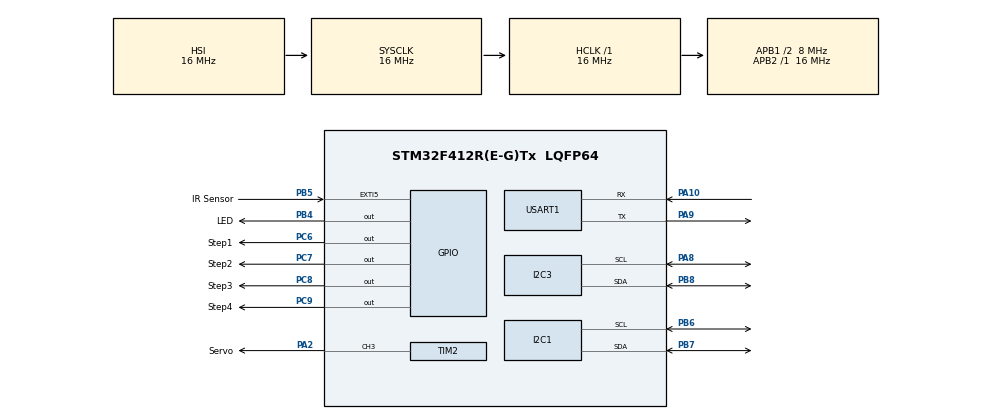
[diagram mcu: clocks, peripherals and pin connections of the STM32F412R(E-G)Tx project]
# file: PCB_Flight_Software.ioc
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Mcu.Family=STM32F4
Mcu.Name=STM32F412R(E-G)Tx
Mcu.Package=LQFP64
NVIC.EXTI9_5_IRQn=true\:0\:0\:false\:false\:true\:true\:true\:true
NVIC.PriorityGroup=NVIC_PRIORITYGROUP_4
PA10.Mode=Asynchronous
PA10.Signal=USART1_RX
PA13.Mode=Trace_Asynchronous_SW
PA13.Signal=SYS_JTMS-SWDIO
PA14.Mode=Trace_Asynchronous_SW
PA14.Signal=SYS_JTCK-SWCLK
PA2.GPIO_Label=Servo
PA2.Signal=S_TIM2_CH3
PA8.GPIO_Pu=GPIO_PULLUP
PA8.Mode=I2C
PA8.Signal=I2C3_SCL
PA9.Mode=Asynchronous
PA9.Signal=USART1_TX
PB3.Mode=Trace_Asynchronous_SW
PB3.Signal=SYS_JTDO-SWO
PB4.GPIO_Label=LED
PB4.Signal=GPIO_Output
PB5.GPIO_Label=IR Sensor
PB5.Signal=GPXTI5
PB6.GPIO_Pu=GPIO_NOPULL
PB6.GPIO_Speed=GPIO_SPEED_FREQ_VERY_HIGH
PB6.Mode=I2C
PB6.Signal=I2C1_SCL
PB7.GPIO_Pu=GPIO_NOPULL
PB7.GPIO_Speed=GPIO_SPEED_FREQ_VERY_HIGH
PB7.Mode=I2C
PB7.Signal=I2C1_SDA
PB8.GPIO_Pu=GPIO_PULLUP
PB8.Mode=I2C
PB8.Signal=I2C3_SDA
PC6.GPIO_Label=Step1
PC6.Signal=GPIO_Output
PC7.GPIO_Label=Step2
PC7.Signal=GPIO_Output
PC8.GPIO_Label=Step3
PC8.Signal=GPIO_Output
PC9.GPIO_Label=Step4
PC9.Signal=GPIO_Output
PH0\ -\ OSC_IN.Mode=HSE-External-Oscillator
PH0\ -\ OSC_IN.Signal=RCC_OSC_IN
PH1\ -\ OSC_OUT.Mode=HSE-External-Oscillator
PH1\ -\ OSC_OUT.Signal=RCC_OSC_OUT
ProjectManager.HeapSize=0x200
ProjectManager.StackSize=0x400
ProjectManager.TargetToolchain=STM32CubeIDE
RCC.AHBFreq_Value=16000000
RCC.APB1CLKDivider=RCC_HCLK_DIV2
RCC.APB1Freq_Value=8000000
RCC.APB1TimFreq_Value=16000000
RCC.APB2Freq_Value=16000000
RCC.APB2TimFreq_Value=16000000
RCC.CortexFreq_Value=16000000
RCC.HCLKFreq_Value=16000000
RCC.HSE_VALUE=8000000
RCC.PLLM=4
RCC.PLLN=96
RCC.SYSCLKFreq_VALUE=16000000
RCC.USBFreq_Value=192000000
RCC.VCOOutputFreq_Value=384000000
SH.S_TIM2_CH3.0=TIM2_CH3,PWM Generation3 CH3
TIM2.Channel-PWM\ Generation3\ CH3=TIM_CHANNEL_3
TIM2.Period=20000-1
TIM2.Prescaler=15
TIM2.Pulse-PWM\ Generation3\ CH3=0
USART1.VirtualMode=VM_ASYNC
VP_TIM2_VS_ClockSourceINT.Mode=Internal
board=custom

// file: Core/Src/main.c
/* USER CODE BEGIN Header */
/**
  ******************************************************************************
  * @file           : main.c
  * @brief          : Main program body
  ******************************************************************************
  * @attention
  *
  * Copyright (c) 2024 STMicroelectronics.
  * All rights reserved.
  *
  * This software is licensed under terms that can be found in the LICENSE file
  * in the root directory of this software component.
  * If no LICENSE file comes with this software, it is provided AS-IS.
  *
  ******************************************************************************
  */
/* USER CODE END Header */
#include "main.h"

/* USER CODE BEGIN Includes */

#include "stm32f4xx_hal.h"
#include <string.h>
#include <stdio.h>
#include <math.h>
#include <stdlib.h>
#include <stdint.h>

#include "MadgwickAHRS.h"

/* USER CODE END Includes */

/* USER CODE BEGIN PD */

typedef uint8_t bool;
#define false 0
#define true 1

// MMC5603 (Magnometer)
#define MMC5603_ADDRESS (0x30 << 1)  // MMC5603 I2C address
#define MMC5603_REG_CONTROL    0x1A          // Control Register 1
#define MMC5603_REG_CONTROL_2  0x1C          // Control Register 2
#define MMC5603_CONTINUOUS_MODE 0x80         // Enable continuous measurement mode
#define MMC5603_ODR_SETTING     0x08         // Set Output Data Rate (ODR) to a reasonable default

// MPL3115A2 (Temp/ Pressure)
#define MPL3115A2_ADDRESS  (0x60 << 1)  // 7-bit address, shifted left for HAL
#define MPL3115A2_WHO_AM_I 0x0C
#define MPL3115A2_CTRL_REG1 0x26
#define MPL3115A2_OUT_P_MSB 0x01

// MPU6050 (Accel/ Tilt)
#define MPU6050_ADDRESS (0x68 << 1)

// PA1010D (GPS)
#define PA1010D_ADDRESS (0x10 << 1)
#define PA_BFR_SIZE 255

//INA219 (Voltage)
#define INA219_ADDRESS (0x40 << 1)

// LM393 (Auto Gyro Speed)
#define PULSES_PER_ROTATION 30
#define AUTO_GYRO_TIME_INTERVAL_MS 1000

// Flash Memory
#define SECTOR 11
#define FLASH_ALTITUDE_OFFSET_ADDRESS 0x080E0000
#define FLASH_MAG_X_OFFSET_ADDRESS 0x080E0004
#define FLASH_MAG_Y_OFFSET_ADDRESS 0x080E0008
#define FLASH_MAG_Z_OFFSET_ADDRESS 0x080E000C
#define FLASH_TIME_DIF_ADDRESS 0x080E0010
#define FLASH_APOGEE_ALT_ADDRESS 0x080E0014
#define FLASH_PAYLOAD_RELEASED_ADDRESS 0x080E0018
#define FLASH_STATE_ADDRESS 0x080E001C

// Stepper Motor
#define IN1_PIN GPIO_PIN_6
#define IN1_PORT GPIOC
#define IN2_PIN GPIO_PIN_7
#define IN2_PORT GPIOC
#define IN3_PIN GPIO_PIN_8
#define IN3_PORT GPIOC
#define IN4_PIN GPIO_PIN_9
#define IN4_PORT GPIOC
#define STEPS_PER_REV 4096

// Servo
#define SERVO_MIN_PULSE_WIDTH 700   // 0° (0.5 ms)
#define SERVO_MAX_PULSE_WIDTH 2500  // 180° (2.5 ms)
#define SERVO_FREQUENCY 50
#define SERVO_ANGLE_CLOSED 128 // 128
#define SERVO_ANGLE_OPEN 85 // 90> >80

#define PI 3.141592

#define RX_BFR_SIZE 255
#define TX_BFR_SIZE 255
#define TEAM_ID "3141"

#define I2C_SCL_PIN GPIO_PIN_6
#define I2C_SDA_PIN GPIO_PIN_7
#define I2C_PORT GPIOB

#define DELTA_BUFFER_SIZE 3

#define MIN_STATE_MAINTAINED_ALT 10
#define DEFAULT_APOGEE_ALT 0

/* USER CODE END PD */

/* USER CODE BEGIN PM */

// XBee
uint8_t rx_packet[RX_BFR_SIZE];
uint8_t tx_data[TX_BFR_SIZE-18];
uint8_t tx_packet[TX_BFR_SIZE];
uint8_t tx_count;
volatile bool command_ready = false;
volatile int32_t last_command_count = -1;
char command_buffer[RX_BFR_SIZE-1];

/* USER CODE END PM */

I2C_HandleTypeDef hi2c1;
I2C_HandleTypeDef hi2c3;

TIM_HandleTypeDef htim2;

UART_HandleTypeDef huart1;

void SystemClock_Config(void);
static void MX_GPIO_Init(void);
static void MX_I2C3_Init(void);
static void MX_TIM2_Init(void);
static void MX_USART1_UART_Init(void);
static void MX_I2C1_Init(void);

/* USER CODE BEGIN 0 */

/* Variables TEAM_ID, MISSION_TIME, PACKET_COUNT, MODE, STATE, ALTITUDE,
TEMPERATURE, PRESSURE, VOLTAGE, GYRO_R, GYRO_P, GYRO_Y, ACCEL_R,
ACCEL_P, ACCEL_Y, MAG_R, MAG_P, MAG_Y, AUTO_GYRO_ROTATION_RATE,
GPS_TIME, GPS_ALTITUDE, GPS_LATITUDE, GPS_LONGITUDE, GPS_SATS,
CMD_ECHO [,,OPTIONAL_DATA] */

// Variables
int8_t mission_time_hr;
int8_t mission_time_min;
int8_t mission_time_sec;
int16_t packet_count = 0;
char mode = 'F';
char state[14] = "LAUNCH_PAD";
float altitude;
float temperature;
float pressure;
float voltage; // Not implemented yet
float gyro_x;
float gyro_y;
float gyro_z;
float accel_x;
float accel_y;
float accel_z;
float mag_x, mag_y, mag_z;
float auto_gyro_rotation_rate; // Not implemented yet
uint8_t gps_time_hr;
uint8_t gps_time_min;
uint8_t gps_time_sec;
float gps_altitude;
float gps_latitude;
float gps_longitude;
uint8_t gps_sats;
char cmd_echo[64] = "N/A";

// PA1010D DATA
uint8_t PA1010D_RATE[] = "$PMTK220,1000*1F\r\n";
//uint8_t PA1010D_SAT[] = "$PMTK313,1*2E\r\n";
uint8_t PA1010D_SAT[] = "$PMTK353,1,0,0,0,0*2A\r\n";
uint8_t PA1010D_INIT[] = "$PMTK225,0*2B\r\n";
uint8_t PA1010D_CFG[] = "$PMTK353,1,0,0,0,0*2A\r\n";
uint8_t PA1010D_MODE[] = "$PMTK314,0,0,0,1,0,0,0,0,0,0,0,0,0,0,0,0,0,0,0*29\r\n";
uint8_t PA1010D_SEPERATOR = '$';
HAL_StatusTypeDef pa_ret;
uint8_t pa_buf[PA_BFR_SIZE];
HAL_StatusTypeDef pa_init_ret[5];
uint8_t prev_time = 0;
uint8_t i2cret[128];
char parse_buf[255];
char gps_lat_dir;
char gps_long_dir;
uint32_t time_dif;

// INA219 DATA (VOLTAGE/CURRENT)
HAL_StatusTypeDef ina_ret;
uint8_t ina_buf[8];
int16_t raw_shunt_voltage;
int16_t raw_bus_voltage;
int16_t raw_power;
int16_t raw_current;
float shunt_voltage;
float bus_voltage;
float power;
float current;

// LM393 (Auto Gyro Rotation Rate)
volatile uint32_t pulse_count = 0;

// Stepper Variables
double direction = 0;
double stepper_direction = 0;
int stepIndex = 1;
bool north_cam_on = false;
MadgwickAHRS ahrs;
uint32_t lastStepperUpdate = 0;
extern uint32_t SystemCoreClock;

// Commands
char sim_command[14];
char simp_command[15];
char set_time_command[13];
char cal_alt_command[14];
char set_camera_north_command[14];
char activate_north_cam_command[21];
char deactivate_north_cam_command[22];
char bcn_on_command[16];
char bcn_off_command[17];
char tel_on_command[15];
char tel_off_command[16];
char cal_comp_on_command[15];
char cal_comp_off_command[16];
char release_payload_command[25];
char reset_release_payload_command[26];
char reset_state_command[14];

// State Variables
float prev_alt = 0;
float delta_buffer[DELTA_BUFFER_SIZE] = {0};
int delta_index = 0;

// Other Variables
//float mag_x_offset = 0.173406959;
//float mag_y_offset = 0.0170800537;
//float mag_z_offset = -0.435796857;
float mag_x_offset = 0;
float mag_y_offset = 0;
float mag_z_offset = 0;
float mag_x_min = 0;
float mag_y_min = 0;
float mag_z_min = 0;
float mag_x_max = 0;
float mag_y_max = -1;
float mag_z_max = -1;
float altitude_offset = 0;
int telemetry_status = 1;
bool sim_enabled = false;
char rx_data[255];
HAL_StatusTypeDef uart_received;
bool calibrating_compass = 0;
float apogee_altitude = 0;
bool payload_released = false;
int alt_increasing_count = 0;
int alt_decreasing_count = 0;
int alt_non_increasing_count = 0;
int plot_packet_num = 0;

volatile uint32_t msCounter = 0;

uint8_t steps[8][4] = {
    {1, 0, 0, 0},
    {1, 1, 0, 0},
    {0, 1, 0, 0},
    {0, 1, 1, 0},
    {0, 0, 1, 0},
    {0, 0, 1, 1},
    {0, 0, 0, 1},
    {1, 0, 0, 1}
};

HAL_StatusTypeDef result;
HAL_StatusTypeDef result2;
HAL_I2C_StateTypeDef state_result;
HAL_I2C_StateTypeDef state_result2;

//Set up Interrupt handler to invoke data transmit from xbee to the board.
void USART1_IRQHandler(void) {
	HAL_UART_IRQHandler(&huart1);
}

// Auto Gyro Rotation Sensor ------------------------------------------------------------

// Speed calculation function
void calculate_auto_gyro_speed(void)
{
    auto_gyro_rotation_rate = (pulse_count * 360) / PULSES_PER_ROTATION;
    pulse_count = 0;
}

// Servo Motor Functions -------------------------------------------------------------------------------
void Set_Servo_Angle(uint8_t angle) {
    // Limit the angle between 0° and 180°
    if (angle > 180) {
        angle = 180;
    }

    // Map the angle to the pulse width
    uint32_t pulse_width = SERVO_MIN_PULSE_WIDTH +
                           ((SERVO_MAX_PULSE_WIDTH - SERVO_MIN_PULSE_WIDTH) * angle) / 180;

    // Calculate the duty cycle for the given pulse width
    uint32_t tim_period = htim2.Init.Period + 1;   // Get the timer period
    uint32_t pulse = (tim_period * pulse_width) / (1000000 / SERVO_FREQUENCY);

    // Set the pulse width to TIM2 Channel 3
    __HAL_TIM_SET_COMPARE(&htim2, TIM_CHANNEL_3, pulse);
}

void Servo_Open(){
//	Set_Servo_Angle(SERVO_ANGLE_OPEN);
	unsigned char num_partitions = 20;
	for (int i = 1; i <= num_partitions; ++i){
		Set_Servo_Angle(SERVO_ANGLE_CLOSED + i * (SERVO_ANGLE_OPEN - SERVO_ANGLE_CLOSED) / num_partitions);
		HAL_Delay(25);
	}
}

void Servo_Close(){
//	Set_Servo_Angle(SERVO_ANGLE_CLOSED);
	unsigned char num_partitions = 20;
	for (int i = 1; i <= num_partitions; ++i){
		Set_Servo_Angle(SERVO_ANGLE_OPEN + i * (SERVO_ANGLE_CLOSED - SERVO_ANGLE_OPEN) / num_partitions);
		HAL_Delay(25);
	}
}

void Servo_Init() {
    HAL_TIM_PWM_Start(&htim2, TIM_CHANNEL_3);  // Start PWM signal on TIM2 Channel 3
}

// Flash Data Functions ---------------------------------------------------------------------------------
uint32_t time_seconds(uint8_t hr, uint8_t min, uint8_t sec){
	return 3600 * hr + 60 * min + sec;
}

int32_t get_time_dif(){
	return time_seconds(mission_time_hr, mission_time_min, mission_time_sec) - time_seconds(gps_time_hr, gps_time_min, gps_time_sec);
}

void get_mission_time(){
	int32_t mission_time = (time_seconds(gps_time_hr, gps_time_min, gps_time_sec) + time_dif) % 86400;
	if (mission_time < 0) mission_time += 86400;
	mission_time_sec = mission_time % 60;
	mission_time -= mission_time_sec;
	mission_time_min = (mission_time % 3600) / 60;
	mission_time -= mission_time_min;
	mission_time_hr = mission_time / 3600;
}

void store_flash_data(){
	// Store altitude offset, magnetic offsets, mission time
	HAL_FLASH_Unlock();

	FLASH_Erase_Sector(SECTOR, FLASH_VOLTAGE_RANGE_2);
	HAL_Delay(100);

	uint32_t altitude_offset_bits, mag_x_offset_bits, mag_y_offset_bits, mag_z_offset_bits, apogee_altitude_bits;
	uint32_t payload_released_bits = payload_released ? 1 : 0;

	// Copy the float data into the 32-bit unsigned integer variables
	if (!isnan(altitude_offset)){
		memcpy(&altitude_offset_bits, &altitude_offset, sizeof(altitude_offset));
	}
	if (!isnan(mag_x_offset)){
		memcpy(&mag_x_offset_bits, &mag_x_offset, sizeof(mag_x_offset));
	}
	if (!isnan(mag_y_offset)){
		memcpy(&mag_y_offset_bits, &mag_y_offset, sizeof(mag_y_offset));
	}
	if (!isnan(mag_z_offset)){
		memcpy(&mag_z_offset_bits, &mag_z_offset, sizeof(mag_z_offset));
	}
	memcpy(&apogee_altitude_bits, &apogee_altitude, sizeof(apogee_altitude));

	HAL_FLASH_Program(FLASH_TYPEPROGRAM_WORD, FLASH_ALTITUDE_OFFSET_ADDRESS, altitude_offset_bits);
	HAL_FLASH_Program(FLASH_TYPEPROGRAM_WORD, FLASH_MAG_X_OFFSET_ADDRESS, mag_x_offset_bits);
	HAL_FLASH_Program(FLASH_TYPEPROGRAM_WORD, FLASH_MAG_Y_OFFSET_ADDRESS, mag_y_offset_bits);
	HAL_FLASH_Program(FLASH_TYPEPROGRAM_WORD, FLASH_MAG_Z_OFFSET_ADDRESS, mag_z_offset_bits);
	HAL_FLASH_Program(FLASH_TYPEPROGRAM_WORD, FLASH_TIME_DIF_ADDRESS, get_time_dif());
	HAL_FLASH_Program(FLASH_TYPEPROGRAM_WORD, FLASH_APOGEE_ALT_ADDRESS, apogee_altitude_bits);
	HAL_FLASH_Program(FLASH_TYPEPROGRAM_WORD, FLASH_PAYLOAD_RELEASED_ADDRESS, payload_released_bits);

	for (uint16_t i = 0; i < 14; i++) {
		HAL_FLASH_Program(FLASH_TYPEPROGRAM_BYTE, FLASH_STATE_ADDRESS + i, state[i]);
	}
	HAL_Delay(100);

	HAL_FLASH_Lock();
}

void load_flash_data(){
	HAL_FLASH_Unlock();

//	altitude_offset = * (__IO uint32_t*) FLASH_ALTITUDE_OFFSET_ADDRESS;
//	mag_x_offset = * (__IO uint32_t*) FLASH_MAG_X_OFFSET_ADDRESS;
//	mag_y_offset = * (__IO uint32_t*) FLASH_MAG_Y_OFFSET_ADDRESS;
//	mag_z_offset = * (__IO uint32_t*) FLASH_MAG_Z_OFFSET_ADDRESS;

//	altitude_offset = * (float*) FLASH_ALTITUDE_OFFSET_ADDRESS;
//	mag_x_offset = *(float*)FLASH_MAG_X_OFFSET_ADDRESS;
//	mag_y_offset = * (float*) FLASH_MAG_Y_OFFSET_ADDRESS;
//	mag_z_offset = * (float*) FLASH_MAG_Z_OFFSET_ADDRESS;
	memcpy(&altitude_offset, (float*)FLASH_ALTITUDE_OFFSET_ADDRESS, sizeof(float));
	memcpy(&mag_x_offset, (float*)FLASH_MAG_X_OFFSET_ADDRESS, sizeof(float));
	memcpy(&mag_y_offset, (float*)FLASH_MAG_Y_OFFSET_ADDRESS, sizeof(float));
	memcpy(&mag_z_offset, (float*)FLASH_MAG_Z_OFFSET_ADDRESS, sizeof(float));
	memcpy(&time_dif, (int32_t*)FLASH_TIME_DIF_ADDRESS, sizeof(int32_t));
	memcpy(&apogee_altitude, (float*)FLASH_APOGEE_ALT_ADDRESS, sizeof(float));

	uint32_t readWord;
	memcpy(&readWord, (uint32_t*)FLASH_PAYLOAD_RELEASED_ADDRESS, sizeof(uint32_t));
	payload_released = (readWord != 0);

	memcpy(state, (uint8_t*)FLASH_STATE_ADDRESS, 14);

	HAL_FLASH_Lock();
}

// Sensor Read Functions -----------------------------------------------------------------------------
uint8_t set_gps(char* buf, uint8_t order){
	char tmp[2];

	if(strlen(buf)==0)
		return 0;

	switch(order) {
	case 0: //STATUS
		if (strlen(buf)<5 || buf[0] != 'G' || buf[2] != 'G' || buf[3] != 'G' || buf[4] != 'A'){
			return 1;
		}
		break;
	case 1: //TIME
		memcpy(tmp, &buf[0], 2);
		gps_time_hr = atoi(tmp);
		memcpy(tmp, &buf[2], 2);
		gps_time_min = atoi(tmp);
		memcpy(tmp, &buf[4], 2);
		gps_time_sec = atoi(tmp);

		break;
	case 2: //LATITUDE
		gps_latitude = atof(buf) / 100;
		break;
	case 3: //LATITUDE_DIR
		gps_lat_dir = *buf;
		if (gps_lat_dir == 'S') {
			gps_latitude*= -1;
		}
		break;
	case 4: //LONGITUDE
		gps_longitude = atof(buf) / 100;
		break;
	case 5: //LONGITUDE DIR
		gps_long_dir = *buf;
		if (gps_long_dir == 'W') {
			gps_longitude*= -1;
		}
		break;
	case 7: //SATS
		gps_sats = atoi(buf);
		break;
	case 9: //ALTITUDE
		gps_altitude = atof(buf);
		break;
	default:
		break;
	}

	return 0;
}

bool parse_nmea(char *buf){
	uint8_t i;
	uint8_t last = 0;
	uint8_t order = 0;

	for(i=0; i<255;i++){
		if ( buf[i] == 44 ){
			if (last != i){
				memset(parse_buf, '\000', sizeof parse_buf);
				memcpy(parse_buf, &buf[last], i-last);
				if(set_gps(parse_buf, order)){
					return false;
				}
			}
			last = i + 1;
			order = order + 1;
		} else if (buf[i] == 42) {
			break;
		}
	}

	return true;
}

float calculate_altitude(float pressure) {
	return 44330.77 * (1 - powf(pressure / 101.326, 0.1902632)) + altitude_offset;
}

void read_MMC5603(void) {
    uint8_t mmc5603_buf[9];
    uint8_t first_reg = 0x00;
	int32_t raw_x, raw_y, raw_z;

	// Perform the I2C write (send the register address) then read 9 bytes of data
	HAL_I2C_Master_Transmit(&hi2c1, MMC5603_ADDRESS, &first_reg, 1, HAL_MAX_DELAY);
	if (result != HAL_OK) {
		// Handle transmission error
		return;
	}

//	HAL_Delay(10);

	// Read 9 bytes of data from the sensor
	if (HAL_I2C_Master_Receive(&hi2c1, MMC5603_ADDRESS, mmc5603_buf, 9, HAL_MAX_DELAY) != HAL_OK) {
		// Handle reception error
		return;
	}

	// Extract X, Y, Z values from the buffer
	raw_x = ((uint32_t)mmc5603_buf[0] << 12) | ((uint32_t)mmc5603_buf[1] << 4) | ((uint32_t)mmc5603_buf[6] >> 4);
	raw_y = ((uint32_t)mmc5603_buf[2] << 12) | ((uint32_t)mmc5603_buf[3] << 4) | ((uint32_t)mmc5603_buf[7] >> 4);
	raw_z = ((uint32_t)mmc5603_buf[4] << 12) | ((uint32_t)mmc5603_buf[5] << 4) | ((uint32_t)mmc5603_buf[8] >> 4);

	// Fix center offsets

	raw_x -= (1 << 19);
	raw_y -= (1 << 19);
	raw_z -= (1 << 19);

	// Scale to Gauss
	mag_x = (float)raw_x * 0.0000625 - mag_x_offset;
	mag_y = (float)raw_y * 0.0000625 - mag_y_offset;
	mag_z = (float)raw_z * 0.0000625 - mag_z_offset;

	direction = atan2(mag_y, mag_x) * 180 / PI;
	if (direction < 0){
		direction += 360;
	}
}

void read_MPL3115A2(void)
{
    uint8_t mpl_data[5]; // Buffer to hold pressure and temperature data

    // Read 5 bytes from OUT_P_MSB (3 for pressure, 2 for temperature)
    HAL_StatusTypeDef mpl_ret = HAL_I2C_Mem_Read(&hi2c1, MPL3115A2_ADDRESS, MPL3115A2_OUT_P_MSB, I2C_MEMADD_SIZE_8BIT, mpl_data, 9, HAL_MAX_DELAY);

    if (mpl_ret == HAL_OK){
    	// Combine pressure bytes into a 20-bit integer
		uint32_t p_raw = ((uint32_t)mpl_data[0] << 16) | ((uint32_t)mpl_data[1] << 8) | (mpl_data[2]);
		p_raw >>= 4; // Pressure is stored in the upper 20 bits

		// Convert raw pressure to Pascals
		pressure = p_raw / 4.0 / 1000; // Pressure in KiloPascals

		// Combine temperature bytes into a 12-bit integer
		int16_t t_raw = ((int16_t)mpl_data[3] << 8) | (mpl_data[4]);
		t_raw >>= 4; // Temperature is stored in the upper 12 bits

		// Convert raw temperature to degrees Celsius
		temperature = t_raw / 16.0; // Temperature in Celsius

		altitude = calculate_altitude(pressure);
    }
}

void calibrate_altitude(void)
{
    uint8_t mpl_data[5]; // Buffer to hold pressure and temperature data

    // Read 5 bytes from OUT_P_MSB (3 for pressure, 2 for temperature)
    HAL_I2C_Mem_Read(&hi2c1, MPL3115A2_ADDRESS, MPL3115A2_OUT_P_MSB, I2C_MEMADD_SIZE_8BIT, mpl_data, 9, HAL_MAX_DELAY);

    // Combine pressure bytes into a 20-bit integer
    uint32_t p_raw = ((uint32_t)mpl_data[0] << 16) | ((uint32_t)mpl_data[1] << 8) | (mpl_data[2]);
    p_raw >>= 4; // Pressure is stored in the upper 20 bits

    // Convert raw pressure to Pascals
    pressure = p_raw / 4.0 / 1000; // Pressure in KiloPascals

    // Combine temperature bytes into a 12-bit integer
    int16_t t_raw = ((int16_t)mpl_data[3] << 8) | (mpl_data[4]);
    t_raw >>= 4; // Temperature is stored in the upper 12 bits

    // Convert raw temperature to degrees Celsius
    temperature = t_raw / 16.0; // Temperature in Celsius

    altitude_offset = 0;
    altitude = calculate_altitude(pressure);
    altitude_offset = -altitude;
}

void read_MPU6050(void) {
	uint8_t imu_addr = 0x3B;
	uint8_t gyro_addr = 0x43;
	HAL_StatusTypeDef mpu_ret;
	uint8_t mpu_buf[6];
	int16_t raw_accel_x;
	int16_t raw_accel_y;
	int16_t raw_accel_z;
	int16_t raw_gyro_x = 0;
	int16_t raw_gyro_y = 0;
	int16_t raw_gyro_z = 0;

	mpu_ret = HAL_I2C_IsDeviceReady(&hi2c1, MPU6050_ADDRESS, 3, 5);
	if (mpu_ret == HAL_OK){
		mpu_ret = HAL_I2C_Master_Transmit(&hi2c1, MPU6050_ADDRESS, &imu_addr, 1, 100);
		if ( mpu_ret == HAL_OK ) {
			mpu_ret = HAL_I2C_Master_Receive(&hi2c1, MPU6050_ADDRESS, mpu_buf, 6, 100);
			if ( mpu_ret == HAL_OK ) {
				// shift first byte left, add second byte
				raw_accel_x = (int16_t)(mpu_buf[0] << 8 | mpu_buf[1]);
				raw_accel_y = (int16_t)(mpu_buf[2] << 8 | mpu_buf[3]);
				raw_accel_z = (int16_t)(mpu_buf[4] << 8 | mpu_buf[5]);

				// get float values in g
				accel_x = raw_accel_x/16384.0;
				accel_y = raw_accel_y/16384.0;
				accel_z = raw_accel_z/16384.0;
			}
		}

		mpu_ret = HAL_I2C_Master_Transmit(&hi2c1, MPU6050_ADDRESS, &gyro_addr, 1, 100);
		if ( mpu_ret == HAL_OK ) {
			mpu_ret = HAL_I2C_Master_Receive(&hi2c1, MPU6050_ADDRESS, mpu_buf, 6, 100);
			if ( mpu_ret == HAL_OK ) {
				// shift first byte left, add second byte
				raw_gyro_x = (int16_t)(mpu_buf[0] << 8 | mpu_buf [1]);
				raw_gyro_y = (int16_t)(mpu_buf[2] << 8 | mpu_buf [3]);
				raw_gyro_z = (int16_t)(mpu_buf[4] << 8 | mpu_buf [5]);

				// convert to deg/sec
				gyro_x = raw_gyro_x/131.0;
				gyro_y = raw_gyro_y/131.0;
				gyro_z = raw_gyro_z/131.0;
			}
		}
    }
}

bool read_PA1010D()
{
	if (HAL_I2C_IsDeviceReady(&hi2c1, PA1010D_ADDRESS, 3, 5) != HAL_OK) return false;

	uint8_t pa_buf_index = 0;
	uint8_t pa_bytebuf = 0;
    bool ret = false;

	/* PA1010D (GPS) */
	if (HAL_I2C_IsDeviceReady(&hi2c1, PA1010D_ADDRESS, 3, HAL_MAX_DELAY) == HAL_OK){
		for(pa_buf_index=0; pa_buf_index<255; pa_buf_index++){
			HAL_I2C_Master_Receive(&hi2c1, PA1010D_ADDRESS, &pa_bytebuf, 1, HAL_MAX_DELAY);
			if (pa_bytebuf == '$'){
				ret = true;
				break; // Idea: take away break statement and see what the whole sentence looks like
			}
			pa_buf[pa_buf_index] = pa_bytebuf;
		}
		parse_nmea(pa_buf);
	}
	return ret;
}

void flush_PA1010D(){
	while(read_PA1010D());
}

void read_INA219(void) {
	/* INA219 (CURRENT/VOLTAGE) */

	// OLD CODE --------------------------------------------------------------------------
//	uint8_t bus_add = 0x02; // need to use separate registers for everything
//
//	ina_ret = HAL_I2C_IsDeviceReady(&hi2c1, INA219_ADDRESS, 3, 5);
//	if (ina_ret == HAL_OK) {
//		ina_ret = HAL_I2C_Master_Transmit(&hi2c1, INA219_ADDRESS, &bus_add, 1, 100);
//		if (ina_ret == HAL_OK) {
//			HAL_I2C_Master_Receive(&hi2c1, INA219_ADDRESS, ina_buf, 2, 10);
//
//			//raw_shunt_voltage = abs((int16_t)(ina_buf[0] << 8 | ina_buf[1]));
//			raw_bus_voltage = (int16_t)(ina_buf[0] << 8 | ina_buf [1]);
//			//raw_power = (int16_t)(ina_buf[4] << 8 | ina_buf [5]);
//			//raw_current = (int16_t)(ina_buf[6] << 8 | ina_buf [7]);
//
//			//shunt_voltage = raw_shunt_voltage*10.0;
//			bus_voltage = raw_bus_voltage/1600.0;
//			//power = raw_power*20/32768.0;
//			//current = raw_current/32768.0;
//
//			voltage = bus_voltage;
//		}
//
//	}

	// NEW CODE ----------------------------------------------------------------------------
	uint8_t reg = 0x02;  // Bus voltage register
	uint8_t ina_buf[2];

	ina_ret = HAL_I2C_IsDeviceReady(&hi2c1, INA219_ADDRESS, 3, 5);
	if (ina_ret == HAL_OK) {
		// Write the register address
		ina_ret = HAL_I2C_Master_Transmit(&hi2c1, INA219_ADDRESS, &reg, 1, 100);
		if (ina_ret == HAL_OK) {
			// Read 2 bytes from that register
			ina_ret = HAL_I2C_Master_Receive(&hi2c1, INA219_ADDRESS, ina_buf, 2, 10);
			if (ina_ret == HAL_OK) {
				uint16_t raw_bus_voltage = (ina_buf[0] << 8) | ina_buf[1];
				raw_bus_voltage >>= 3;  // per datasheet, remove unused bits

				float bus_voltage = raw_bus_voltage * 0.004;  // each bit = 4mV
				voltage = bus_voltage;

				// For debug:
				// printf("Bus voltage: %.3f V\n", voltage);
			}
		}
	}
}

void calibrate_mmc(){
	read_MMC5603();
	if (mag_x < mag_x_min){
		mag_x_min = mag_x;
	}
	if (mag_x > mag_x_max){
		mag_x_max = mag_x;
	}
	if (mag_y < mag_y_min){
		mag_y_min = mag_y;
	}
	if (mag_y > mag_y_max){
		mag_y_max = mag_y;
	}
	if (mag_z < mag_z_min){
		mag_z_min = mag_z;
	}
	if (mag_z > mag_z_max){
		mag_z_max = mag_z;
	}
}

// Sensor Init Functions -------------------------------------------------------------------
void init_MMC5603(void) {
	uint8_t odr_value = 100;  // Example: Set ODR to 1000 Hz by writing 255
	uint8_t control_reg0 = 0b10000000;  // Set Cmm_freq_en and Take_meas_M
	uint8_t control_reg1 = 0b10000000;  // BW0=0, BW1=0 (6.6 ms)
	uint8_t control_reg2 = 0b00010000;  // Set Cmm_en to enable continuous mode

	// Configure Control Register 1
	result = HAL_I2C_Mem_Write(&hi2c1, MMC5603_ADDRESS, 0x1C, I2C_MEMADD_SIZE_8BIT, &control_reg1, 1, HAL_MAX_DELAY);
	HAL_Delay(20);
	uint8_t set_bit = 0b00001000;
	HAL_I2C_Mem_Write(&hi2c1, MMC5603_ADDRESS, 0x1B, I2C_MEMADD_SIZE_8BIT, &set_bit, 1, HAL_MAX_DELAY);
	HAL_Delay(1);
	uint8_t reset_bit = 0b00010000;
	HAL_I2C_Mem_Write(&hi2c1, MMC5603_ADDRESS, 0x1B, I2C_MEMADD_SIZE_8BIT, &reset_bit, 1, HAL_MAX_DELAY);
	HAL_Delay(1);

	// Set Output Data Rate
	HAL_I2C_Mem_Write(&hi2c1, MMC5603_ADDRESS, 0x1A, I2C_MEMADD_SIZE_8BIT, &odr_value, 1, HAL_MAX_DELAY);
	HAL_Delay(10);

	// Configure Control Register 0
	HAL_I2C_Mem_Write(&hi2c1, MMC5603_ADDRESS, 0x1B, I2C_MEMADD_SIZE_8BIT, &control_reg0, 1, HAL_MAX_DELAY);
	HAL_Delay(10);

	// Configure Control Register 2
	HAL_I2C_Mem_Write(&hi2c1, MMC5603_ADDRESS, 0x1D, I2C_MEMADD_SIZE_8BIT, &control_reg2, 1, HAL_MAX_DELAY);

	// Optionally: Add a delay to allow the sensor to stabilize
	HAL_Delay(10);
}

void init_MPL3115A2(void)
{
	// Check the WHO_AM_I register to verify sensor is connected
	uint8_t who_am_i = 0;
	HAL_I2C_Mem_Read(&hi2c1, MPL3115A2_ADDRESS, MPL3115A2_WHO_AM_I, I2C_MEMADD_SIZE_8BIT, &who_am_i, 1, HAL_MAX_DELAY);
	if (who_am_i == 0xC4)
	{
		// WHO_AM_I is correct, now configure the sensor
//		uint8_t data = 0xB9; // Altimeter mode
		uint8_t data = 0x39; // Barometer mode
		HAL_I2C_Mem_Write(&hi2c1, MPL3115A2_ADDRESS, MPL3115A2_CTRL_REG1, I2C_MEMADD_SIZE_8BIT, &data, 1, HAL_MAX_DELAY);
	}
	else
	{
		// Handle error
	}
}

void init_MPU6050(void)
{
	uint8_t mpu_config = 0x00;
	uint8_t mpu_set_sample_rate = 0x07;
	uint8_t mpu_set_fs_range = 0x00;
	uint8_t clockSource = 0x01;

	// wake up sensor
	HAL_I2C_Mem_Write(&hi2c1, MPU6050_ADDRESS, 0x6B, 1,&mpu_config, 1, 1000);

	// set sample rate to 1kHz, config ranges
	HAL_I2C_Mem_Write(&hi2c1, MPU6050_ADDRESS, 0x19, 1, &mpu_set_sample_rate, 1, 1000);
	HAL_I2C_Mem_Write(&hi2c1, MPU6050_ADDRESS, 0x1B, 1, &mpu_set_fs_range, 1, 1000);
	HAL_I2C_Mem_Write(&hi2c1, MPU6050_ADDRESS, 0x1c, 1, &mpu_set_fs_range, 1, 1000);
	HAL_I2C_Mem_Write(&hi2c1, MPU6050_ADDRESS, 0x6B, I2C_MEMADD_SIZE_8BIT, &clockSource, 1, 1000);
}

void init_PA1010D(void)
{
	if (HAL_I2C_IsDeviceReady(&hi2c1, PA1010D_ADDRESS, 3, 5) != HAL_OK) return;
	uint8_t pa1010d_bytebuf;

	HAL_I2C_Master_Transmit(&hi2c1, PA1010D_ADDRESS, PA1010D_MODE, strlen( (char *)PA1010D_MODE), 1000);
	HAL_I2C_Master_Transmit(&hi2c1, PA1010D_ADDRESS, PA1010D_RATE, strlen( (char *)PA1010D_RATE), 1000);
//	pa_init_ret[1] = HAL_I2C_Master_Transmit(&hi2c1, PA1010D_ADDRESS, PA1010D_INIT, strlen( (char *)PA1010D_INIT), 1000);
//	pa_init_ret[2] = HAL_I2C_Master_Transmit(&hi2c1, PA1010D_ADDRESS, PA1010D_SAT, strlen( (char *)PA1010D_SAT), 1000);
//	pa_init_ret[3] = HAL_I2C_Master_Transmit(&hi2c1, PA1010D_ADDRESS, PA1010D_CFG, strlen( (char *)PA1010D_CFG), 1000);

//	HAL_Delay(10000);
	//Wait for stabilization
	for(int j=0; j<10; j++){
		for(int i=0; i<255; i++){
			HAL_I2C_Master_Receive(&hi2c1, PA1010D_ADDRESS, &pa1010d_bytebuf, 1, HAL_MAX_DELAY);
			if (pa1010d_bytebuf == '$'){
				break;
			}
			pa_buf[i] = pa1010d_bytebuf;
		}
		if (j>5){
			parse_nmea(pa_buf);
		}
		HAL_Delay(500);
	}
}

void init_INA219(void)
{
	// OLD CODE --------------------------------------------------------------------------
//	uint8_t ina_config[2] = {0b00000001, 0b00011101};
//	result2 = HAL_I2C_Mem_Write(&hi2c1, (uint16_t) INA219_ADDRESS, 0x05, 1, ina_config, 2, 1000);

	// NEW CODE --------------------------------------------------------------------------
	// This is writing to the CALIBRATION register (0x05), not the CONFIG register (0x00)!
	uint8_t ina_calib[2] = {0x20, 0x00};  // Example calibration value
	result2 = HAL_I2C_Mem_Write(&hi2c1, INA219_ADDRESS, 0x05, 1, ina_calib, 2, 1000);

	// Now write to the CONFIG register (0x00)
	uint8_t ina_config[2] = {0x01, 0x9F};  // Example: 32V, 2A, 12-bit ADCs
	HAL_I2C_Mem_Write(&hi2c1, INA219_ADDRESS, 0x00, 1, ina_config, 2, 1000);
}

void read_sensors(void)
{
	read_MPU6050(); // Accel/ tilt
	read_MPL3115A2(); // Temperature/ Pressure
	if (!north_cam_on) read_MMC5603(); // Magnetic Field
//	read_PA1010D();
	for (int i = 0; i < 2; ++i){
		read_PA1010D(); // GPS
	}
	calculate_auto_gyro_speed();
	read_INA219(); // Voltage
}

void reset_MPU6050(void) {
    uint8_t reset_command = 0x80;  // Set the reset bit in PWR_MGMT_1
    HAL_I2C_Mem_Write(&hi2c1, MPU6050_ADDRESS, 0x6B, 1, &reset_command, 1, HAL_MAX_DELAY);
    HAL_Delay(100); // Wait for reset to complete
}

void init_sensors(void)
{
	if (HAL_I2C_GetState(&hi2c1) != HAL_I2C_STATE_READY) {
		reset_MPU6050();
	}

	init_MPU6050(); // Must be first
	init_MPL3115A2();
	init_MMC5603();
	init_PA1010D();
	init_INA219();

	read_PA1010D();
	get_mission_time();

	flush_PA1010D();
}

void init_commands(void)
{
	snprintf(sim_command, sizeof(sim_command), "CMD,%s,SIM,", TEAM_ID);
	snprintf(simp_command, sizeof(simp_command), "CMD,%s,SIMP,", TEAM_ID);
	snprintf(set_time_command, sizeof(set_time_command), "CMD,%s,ST,", TEAM_ID);
	snprintf(cal_alt_command, sizeof(cal_alt_command), "CMD,%s,CAL", TEAM_ID);
	snprintf(bcn_on_command, sizeof(bcn_on_command), "CMD,%s,BCN,ON", TEAM_ID);
	snprintf(bcn_off_command, sizeof(bcn_off_command), "CMD,%s,BCN,OFF", TEAM_ID);
	snprintf(tel_on_command, sizeof(tel_on_command), "CMD,%s,CX,ON", TEAM_ID);\
	snprintf(tel_off_command, sizeof(tel_off_command), "CMD,%s,CX,OFF", TEAM_ID);
	snprintf(cal_comp_on_command, sizeof(cal_comp_on_command), "CMD,%s,CC,ON", TEAM_ID);
	snprintf(cal_comp_off_command, sizeof(cal_comp_off_command), "CMD,%s,CC,OFF", TEAM_ID);
	snprintf(set_camera_north_command, sizeof(set_camera_north_command), "CMD,%s,SCN", TEAM_ID);
	snprintf(activate_north_cam_command, sizeof(activate_north_cam_command), "CMD,%s,MEC,CAM,ON", TEAM_ID);
	snprintf(deactivate_north_cam_command, sizeof(deactivate_north_cam_command), "CMD,%s,MEC,CAM,OFF", TEAM_ID);
	snprintf(release_payload_command, sizeof(release_payload_command), "CMD,%s,MEC,PAYLOAD,ON", TEAM_ID);
	snprintf(reset_release_payload_command, sizeof(reset_release_payload_command), "CMD,%s,MEC,PAYLOAD,OFF", TEAM_ID);
	snprintf(reset_state_command, sizeof(reset_state_command), "CMD,%s,RST", TEAM_ID);
}

// Stepper Motor Functions ---------------------------------------------------------------------------
void Stepper_SetStep(uint8_t i) {
    HAL_GPIO_WritePin(IN1_PORT, IN1_PIN, steps[i][0] ? GPIO_PIN_SET : GPIO_PIN_RESET);
    HAL_GPIO_WritePin(IN2_PORT, IN2_PIN, steps[i][1] ? GPIO_PIN_SET : GPIO_PIN_RESET);
    HAL_GPIO_WritePin(IN3_PORT, IN3_PIN, steps[i][2] ? GPIO_PIN_SET : GPIO_PIN_RESET);
    HAL_GPIO_WritePin(IN4_PORT, IN4_PIN, steps[i][3] ? GPIO_PIN_SET : GPIO_PIN_RESET);
}

// Rotate the motor a specified number of steps
void Stepper_Rotate(int stepsCount, int delayMs) {
    int direction = (stepsCount > 0) ? 1 : -1;
    stepsCount = abs(stepsCount);

    for (int i = 0; i < stepsCount; i++) {
        Stepper_SetStep(stepIndex);
        HAL_Delay(delayMs);

        stepIndex += direction;
        if (stepIndex >= 8) stepIndex = 0;
        else if (stepIndex < 0) stepIndex = 7;
    }
}

void DWT_Init(void) {
    CoreDebug->DEMCR |= CoreDebug_DEMCR_TRCENA_Msk; // Enable TRC
    DWT->CYCCNT = 0;                                // Reset counter
    DWT->CTRL |= DWT_CTRL_CYCCNTENA_Msk;            // Enable counter
}

// Rotate the motor to correct its direction to all way to the North
void Stepper_Correction(){
//	read_MMC5603();
//	float dir_change = stepper_direction - direction;
//	if (dir_change > 180) dir_change -= 360;
//	else if (dir_change < -180) dir_change += 360;
//
//	int num_steps = round(dir_change * STEPS_PER_REV / 360);
//
//	stepper_direction -= (double)num_steps * 360 / STEPS_PER_REV;
//	if (stepper_direction > 360) stepper_direction -= 360;
//	else if (stepper_direction < 0) stepper_direction += 360;
//
//	Stepper_Rotate(num_steps, 0);

	// Read sensor data (gyroscope, accelerometer, magnetometer)
	read_MPU6050();
	read_MMC5603();

	float gx = gyro_x;
	float gy = gyro_y;
	float gz = gyro_z;
	float ax = accel_x;
	float ay = accel_y;
	float az = accel_z;
	float mx = mag_x;
	float my = mag_y;
	float mz = mag_z;

	uint32_t now = DWT->CYCCNT;
	float dt = (now - lastStepperUpdate) / (float)SystemCoreClock;
	lastStepperUpdate = now;

	if (dt > 0) {
	    ahrs.invSampleFreq = dt;
	}
	Madgwick_update(&ahrs, gx, -gy, -gz, ax, -ay, -az, mx, my, mz);

	// Get the current yaw from the Madgwick filter (assumed to represent the direction of the system)
	float current_yaw = Madgwick_getYaw(&ahrs);

	float correction_boost = 1.05f;
	float dir_change = (stepper_direction - current_yaw) * correction_boost;
	if (dir_change > 180) dir_change -= 360;
	else if (dir_change < -180) dir_change += 360;

	int num_steps = round(dir_change * STEPS_PER_REV / 360);

	stepper_direction -= (double)num_steps * 360 / STEPS_PER_REV;
	if (stepper_direction > 360) stepper_direction -= 360;
	else if (stepper_direction < 0) stepper_direction += 360;

	Stepper_Rotate(-num_steps, 0);
}

void set_stepper_north(){
	stepper_direction = direction;
}

void turn_stepper_north(){
	read_MMC5603();
	float dir_change = stepper_direction - direction;
	if (dir_change > 180) dir_change -= 360;
	else if (dir_change < -180) dir_change += 360;

	int num_steps = round(dir_change * STEPS_PER_REV / 360);

	stepper_direction -= (double)num_steps * 360 / STEPS_PER_REV;
	if (stepper_direction > 360) stepper_direction -= 360;
	else if (stepper_direction < 0) stepper_direction += 360;

	Stepper_Rotate(num_steps, 0);

	// Prepare for madgwick filter to take over stepper
	stepper_direction = Madgwick_getYaw(&ahrs);
	lastStepperUpdate = DWT->CYCCNT;
}

// Xbee and Command Functions ----------------------------------------------------------------
uint8_t calculate_checksum(const char *data) {
	uint8_t checksum = 0;
	while (*data) {
		checksum += *data++;
	}
	return checksum % 256;
}

void send_packet(){

	char packet[512];  // Buffer for packet
	char data[480];    // Buffer for data without checksum

	packet_count += 1;

	snprintf(data, sizeof(data),
		"%s,%02d:%02d:%02d,%d,%c,%s,%.1f,%.1f,%.1f,%.1f,%.1f,%.1f,%.1f,%.1f,%.1f,%.1f,%.1f,%.1f,%.1f,%.1f,%02d:%02d:%02d,%.1f,%.1f,%.1f,%u,%s,%d,%.1f,%s",
		 TEAM_ID, mission_time_hr, mission_time_min, mission_time_sec, packet_count,
		 mode, state, altitude, temperature, pressure, voltage,
		 -gyro_z, gyro_x, -gyro_y, -accel_z, accel_x, -accel_y, mag_z, mag_x, mag_y,
		 auto_gyro_rotation_rate, gps_time_hr, gps_time_min, gps_time_sec,
		 gps_altitude, gps_latitude, gps_longitude, gps_sats, cmd_echo, (int)direction,
		 apogee_altitude, payload_released ? "TRUE" : "FALSE");

	uint8_t checksum = calculate_checksum(data);
	snprintf(packet, sizeof(packet), "~%s,%u\n", data, checksum);

	// Send the packet using HAL_UART_Transmit
//	HAL_UART_Transmit(&huart1, (uint8_t*)packet, strlen(packet), HAL_MAX_DELAY);

	int packet_len = strlen(packet);
	int chunk_size = 73;

	for (int i = 0; i < packet_len; i += chunk_size) {
	    int remaining = packet_len - i;
	    int send_len = remaining < chunk_size ? remaining : chunk_size;

	    HAL_UART_Transmit(&huart1, (uint8_t*)&packet[i], send_len, HAL_MAX_DELAY);

	    if (i + chunk_size < packet_len) {
	        HAL_Delay(40);  // Wait 40ms only if more data remains
	    }
	}
}

void send_mmc_plot_packet(){

	char packet[512];  // Buffer for packet
	char data[480];    // Buffer for data without checksum

	snprintf(data, sizeof(data),
		"%d,%.3f,%.3f,%.3f,%.3f,%.3f,%.3f,%.3f,%.3f,%d",
		 ++plot_packet_num, mag_x, mag_y, (mag_x_min + mag_x_max) / 2, (mag_y_min + mag_y_max) / 2, mag_x_min, mag_x_max, mag_y_min, mag_y_max, (int)direction);

	uint8_t checksum = calculate_checksum(data);
	snprintf(packet, sizeof(packet), "~%s,%u\n", data, checksum);

	// Send the packet using HAL_UART_Transmit
	HAL_UART_Transmit(&huart1, (uint8_t*)packet, strlen(packet), HAL_MAX_DELAY);
}

void reset_delta_buffer(){
	for(int i = 0; i < DELTA_BUFFER_SIZE; ++i){
		delta_buffer[i] = 0;
	}
}

void handle_state(){
	// States: ‘LAUNCH_PAD’,‘ASCENT’, ‘APOGEE’, ‘DESCENT’, ‘PROBE_RELEASE’, ‘LANDED’
	float noise_threshold = 3.0;
	float landing_threshold = 0.2;

	float delta = altitude - prev_alt;

	// Update delta buffer
	delta_buffer[delta_index] = delta;
	delta_index = (delta_index + 1) % DELTA_BUFFER_SIZE;  // Circular buffer index

	// Compute rolling average of deltas
	float avg_delta = 0;
	for (int i = 0; i < DELTA_BUFFER_SIZE; i++) {
		avg_delta += delta_buffer[i];
	}
	avg_delta /= DELTA_BUFFER_SIZE;  // Take the average

	if (strncmp(state, "LAUNCH_PAD", strlen("LAUNCH_PAD")) == 0){
		if (altitude > apogee_altitude && altitude < 40000){
			apogee_altitude = altitude;
		}
		if (avg_delta > noise_threshold){
			memset(state, 0, sizeof(state));
			strncpy(state, "ASCENDING", strlen("ASCENDING"));
			store_flash_data();
		}
	}
	else if (strncmp(state, "ASCENDING", strlen("ASCENDING")) == 0){
		if (altitude > apogee_altitude && altitude < 40000){
			apogee_altitude = altitude;
		}
		if (avg_delta < -noise_threshold){
			memset(state, 0, sizeof(state));
			strncpy(state, "APOGEE", strlen("APOGEE"));
			store_flash_data();
		}
	}
	else if (strncmp(state, "APOGEE", strlen("APOGEE")) == 0){
		memset(state, 0, sizeof(state));
		strncpy(state, "DESCENDING", strlen("DESCENDING"));
		if (altitude > apogee_altitude && altitude < 40000){
			apogee_altitude = altitude;
		}
		store_flash_data();
	}
	else if (strncmp(state, "DESCENDING", strlen("DESCENDING")) == 0){
		if (altitude <= apogee_altitude * 0.75 && !payload_released){
			memset(state, 0, sizeof(state));
			strncpy(state, "PROBE_RELEASE", strlen("PROBE_RELEASE"));
			// Deploy Auto Gyro
			Servo_Open();
			payload_released = true;
			north_cam_on = true;

			turn_stepper_north();
		}
		if (abs(avg_delta) < landing_threshold){
			memset(state, 0, sizeof(state));
			strncpy(state, "LANDED", strlen("LANDED"));
			store_flash_data();
		}
	}
	else if (strncmp(state, "PROBE_RELEASE", strlen("PROBE_RELEASE")) == 0){
		memset(state, 0, sizeof(state));
		strncpy(state, "DESCENDING", strlen("DESCENDING"));
	}
	else if (strncmp(state, "LANDED", strlen("LANDED")) == 0){
		// stop telemetry transmission
//		telemetry_status = 0;
		// Turn off north cam
		north_cam_on = false;
	}

	prev_alt = altitude;
}

void read_transmit_telemetry (){
	if (mode == 'F') {
		read_sensors();
	}

	send_packet();
}

void set_cmd_echo(const char *cmd)
{
	memset(cmd_echo, '\0', sizeof(cmd_echo));
	strncpy(cmd_echo, cmd, strlen(cmd));
}

void handle_command(const char *cmd) {

	// SIM command
	if (strncmp(cmd, sim_command, strlen(sim_command)) == 0) {

		// disable
		if (cmd[13] == 'D'){
			set_cmd_echo("SIMDISABLE");
			mode = 'F';
			sim_enabled = false;
		}

		// enable
		if (cmd[13] == 'E'){
			set_cmd_echo("SIMENABLE");
			sim_enabled = true;
		}

		// activate
		if (cmd[13] == 'A' && sim_enabled == true){
			mode = 'S';
			set_cmd_echo("SIMACTIVATE");
		}

	}

	// SIMP command
	else if (strncmp(cmd, simp_command, strlen(simp_command)) == 0) {
		if (mode == 'S') {
			char pressure_str[7];

			strncpy(pressure_str, &cmd[14], 6);
			pressure_str[6] = '\0';

			// Read sensors, then update the pressure and altitude
			read_sensors();
			pressure = atof(pressure_str)/1000;
			altitude = calculate_altitude(pressure);

			char temp[12] = "SIMP";
			strcat(temp, pressure_str);
			set_cmd_echo(temp);
			memset(pressure_str, '\0', sizeof(pressure_str));
		}
		sim_enabled = false;
	}

	// set time command
	else if (strncmp(cmd, set_time_command, strlen(set_time_command)) == 0) {
		if (cmd[12]=='G') {
			mission_time_hr = (int16_t)gps_time_hr;
			mission_time_min = (int16_t)gps_time_min;
			mission_time_sec = (int16_t)gps_time_sec;
			set_cmd_echo("STGPS");
		}
		else {
			char temp[3];
			memset(temp, 0, sizeof(temp));
			temp[0] = cmd[12];
			temp[1] = cmd[13];
			mission_time_hr = atoi(temp);
			memset(temp, 0, sizeof(temp));
			temp[0] = cmd[15];
			temp[1] = cmd[16];
			mission_time_min = atoi(temp);
			memset(temp, 0, sizeof(temp));
			temp[0] = cmd[18];
			temp[1] = cmd[19];
			mission_time_sec = atoi(temp);
			memset(cmd_echo, '\0', sizeof(cmd_echo));
			snprintf(cmd_echo, 11, "ST%02d:%02d:%02d", mission_time_hr, mission_time_min, mission_time_sec);
		}
		store_flash_data();

	}

	// Calibrate Altitude
	else if (strncmp(cmd, cal_alt_command, strlen(cal_alt_command)) == 0) {
//		altitude_offset -= altitude;
		calibrate_altitude();
		store_flash_data();
		set_cmd_echo("CAL");
		if (strncmp(state, "PRE-LAUNCH", strlen("PRE-LAUNCH")) == 0) {
			memset(state, 0, sizeof(state));
			strncpy(state, "LAUNCH-READY", strlen("LAUNCH-READY"));
		}

		prev_alt = 0;
		reset_delta_buffer();
		read_MPL3115A2();

		sim_enabled = false;
	}

	// Telemetry On
	else if (strncmp(cmd, tel_on_command, strlen(tel_on_command)) == 0) {
		telemetry_status = 1;
		set_cmd_echo("CXON");
		sim_enabled = false;
		flush_PA1010D();
	}

	// Telemetry Off
	else if (strncmp(cmd, tel_off_command, strlen(tel_off_command)) == 0) {
		telemetry_status = 0;
		set_cmd_echo("CXOFF");
		sim_enabled = false;
	}

	// Calibrate compass On
	else if (strncmp(cmd, cal_comp_on_command, strlen(cal_comp_on_command)) == 0) {
		mag_x_offset = 0;
		mag_y_offset = 0;
		mag_z_offset = 0;
		read_MMC5603();

		mag_x_min = mag_x;
		mag_x_max = mag_x;
		mag_y_min = mag_y;
		mag_y_max = mag_y;
		mag_z_min = mag_z;
		mag_z_max = mag_z;
		calibrating_compass = 1;
		set_cmd_echo("CCON");
		sim_enabled = false;
	}

	// Calibrate compass Off
	else if (strncmp(cmd, cal_comp_off_command, strlen(cal_comp_off_command)) == 0) {
		calibrating_compass = 0;

		mag_x_offset = (mag_x_min + mag_x_max) / 2;
		mag_y_offset = (mag_y_min + mag_y_max) / 2;
		mag_z_offset = (mag_z_min + mag_z_max) / 2;

		store_flash_data();
		set_cmd_echo("CCOFF");
		sim_enabled = false;
	}

	// Set Camera North
	else if (strncmp(cmd, set_camera_north_command, strlen(set_camera_north_command)) == 0) {
		// Update variable
		set_cmd_echo("SCN");
		set_stepper_north();
		sim_enabled = false;
	}

	// Activate North Camera
	else if (strncmp(cmd, activate_north_cam_command, strlen(activate_north_cam_command)) == 0) {
		// Update variable
		set_cmd_echo("MECCAMON");
		north_cam_on = true;
		turn_stepper_north();
		sim_enabled = false;
	}

	// Activate North Camera
	else if (strncmp(cmd, deactivate_north_cam_command, strlen(deactivate_north_cam_command)) == 0) {
		// Update variable
		set_cmd_echo("MECCAMOFF");
		north_cam_on = false;
		sim_enabled = false;
	}

	// Release Payload
	else if (strncmp(cmd, release_payload_command, strlen(release_payload_command)) == 0) {
		// Update variable
		set_cmd_echo("MECPAYLOADON");
		Servo_Open();
		payload_released = true;
		sim_enabled = false;
	}

	// Reset Payload Release
	else if (strncmp(cmd, reset_release_payload_command, strlen(reset_release_payload_command)) == 0) {
		// Update variable
		set_cmd_echo("MECPAYLOADOFF");
		Servo_Close();
		payload_released = false;
		sim_enabled = false;
	}

	// Reset State
	else if (strncmp(cmd, reset_state_command, strlen(reset_state_command)) == 0) {
		// Update variable
		set_cmd_echo("RST");
		reset_state();
		sim_enabled = false;
	}
}

void reset_state(){
	Set_Servo_Angle(SERVO_ANGLE_CLOSED);
	payload_released = false;
	north_cam_on = false;
	prev_alt = altitude;
	reset_delta_buffer();
	telemetry_status = 1;
	memset(state, 0, sizeof(state));
	strncpy(state, "LAUNCH_PAD", strlen("LAUNCH_PAD"));
	apogee_altitude = DEFAULT_APOGEE_ALT;
	store_flash_data();
	msCounter = 0;
}

void initial_state_reset(){
	read_MPL3115A2();
	prev_alt = altitude;
	reset_delta_buffer();

	// Set North Direction Offset
	read_MMC5603();
	set_stepper_north();

	read_MPU6050();

	if (altitude > MIN_STATE_MAINTAINED_ALT && ((accel_x * accel_x) + (accel_y * accel_y) + (accel_z * accel_z) > 1)){
		// Assume there was a power reset during flight. Use configurations from flash
		if (payload_released)
			Servo_Open();
		else
			Servo_Close();

		// Lost Power during flight. Reseting to previous state
		if (strncmp(state, "ASCENDING", strlen("ASCENDING")) == 0){
			Servo_Close();
			north_cam_on = false;
		}
		else if (strncmp(state, "DESCENDING", strlen("DESCENDING")) == 0){
			Servo_Open();
		}

		prev_alt = altitude;
		reset_delta_buffer();
		telemetry_status = 1;
		store_flash_data();
	}
	else{
		reset_state();
	}
}

uint32_t uart_error = 0;
void HAL_UART_ErrorCallback(UART_HandleTypeDef *huart) {
    // Check if it's your UART instance
    if (huart->Instance == USART1) {
        // Log or handle the error
        uart_error++;

        // Try to recover
        HAL_UARTEx_ReceiveToIdle_IT(huart, rx_data, RX_BFR_SIZE);
    }
}

void HAL_UARTEx_RxEventCallback(UART_HandleTypeDef *huart, uint16_t Size){
	// Call function for next packet

	memcpy(rx_packet, rx_data, Size);
	rx_packet[Size] = '\0';
	memset(rx_data, 0, sizeof(rx_data));

	if (rx_packet[0] == '~') {
		// Calculate where the comma and checksum should be
		char *last_comma = &rx_packet[Size - 3];  // Comma is 3 characters from the end (2 for checksum, 1 for comma)
		char *first_comma = strchr(rx_packet, ',');

		// Ensure the expected comma is at the right position
		if (*last_comma == ',') {
			*last_comma = '\0'; // Null-terminate before checksum

			// Extract and convert the received checksum (2 characters after the comma)
			uint8_t received_checksum = (uint8_t)strtol(&rx_packet[Size - 2], NULL, 16);  // Convert checksum to integer
			// Calculate checksum of the data part (after '~' and before comma)
			uint8_t calculated_checksum = calculate_checksum(&rx_packet[1]);

			*first_comma = '\0'; // Null-terminate after packet_count

			int32_t packet_count = atoi(&rx_packet[1]);

			// Compare calculated checksum with the received one
			if (calculated_checksum == received_checksum && command_ready == false && last_command_count != packet_count) {
				last_command_count = packet_count;
				// Checksum is valid, and this is new command. Process the command
				strcpy(command_buffer, &first_comma[1]);
				command_ready = true;
			}
		}
	}

	uart_received = HAL_UARTEx_ReceiveToIdle_IT(huart, rx_data, RX_BFR_SIZE);
}

/* USER CODE END 0 */

int main(void)
{

  /* MCU Configuration--------------------------------------------------------*/

  /* Reset of all peripherals, Initializes the Flash interface and the Systick. */
  HAL_Init();

  /* Configure the system clock */
  SystemClock_Config();

  /* Initialize all configured peripherals */
  MX_GPIO_Init();
  MX_I2C3_Init();
  MX_TIM2_Init();
  MX_USART1_UART_Init();
  MX_I2C1_Init();
  /* USER CODE BEGIN 2 */

  HAL_GPIO_WritePin(LED_GPIO_Port, LED_Pin, GPIO_PIN_SET);

  load_flash_data();

  HAL_Delay(100);
  init_sensors();
  HAL_Delay(100);

  init_commands();
  Servo_Init();

  // Initialize Xbee receiving
  HAL_NVIC_EnableIRQ(USART1_IRQn);
  uart_received = HAL_UARTEx_ReceiveToIdle_IT(&huart1, rx_data, RX_BFR_SIZE);

  if (isnan(mag_x_offset)){
	  mag_x_offset = 0.196062505;
	  mag_y_offset = 0.279687494;
	  mag_z_offset = -0.832656264;
	  read_MMC5603();
	}
	if (isnan(altitude_offset)){
	  calibrate_altitude();
	}

  DWT_Init();
  Madgwick_init(&ahrs, 200);

  initial_state_reset();

  /* USER CODE END 2 */

  /* Infinite loop */
  /* USER CODE BEGIN WHILE */
  while (1)
  {
	  if (command_ready){
		  handle_command(command_buffer);
		  command_ready = false;
	  }

	  // Correction of Camera Angle
	  if (north_cam_on){
		  Stepper_Correction();
	  }

	  if (calibrating_compass){
		  calibrate_mmc();
		  if (msCounter >= 250){
			  send_mmc_plot_packet();
			  msCounter -= 250;
		  }
	  }

	  // Happens 1 time per second
	  if (msCounter >= 1000){
		  msCounter -= 1000;

		  if (HAL_I2C_GetState(&hi2c1) != HAL_I2C_STATE_READY) {
			  init_sensors();
		  }

		  // Handle Mission Time
		  mission_time_sec++;
		  if ( mission_time_sec >= 60 ){
			  mission_time_sec -= 60;
			  mission_time_min += 1;
		  }
		  if ( mission_time_min >= 60 ){
			  mission_time_min -= 60;
			  mission_time_hr += 1;
		  }
		  if ( mission_time_hr >= 24 ){
			  mission_time_hr -= 24;
		  }

		  handle_state();

		  // Control Telemetry
		  if (telemetry_status == 1){
			  read_transmit_telemetry();
		  }
	  }

	  HAL_Delay(1);

    /* USER CODE END WHILE */

  }
}

void SystemClock_Config(void)
{
  RCC_OscInitTypeDef RCC_OscInitStruct = {0};
  RCC_ClkInitTypeDef RCC_ClkInitStruct = {0};

  /** Configure the main internal regulator output voltage
  */
  __HAL_RCC_PWR_CLK_ENABLE();
  __HAL_PWR_VOLTAGESCALING_CONFIG(PWR_REGULATOR_VOLTAGE_SCALE1);

  /** Initializes the RCC Oscillators according to the specified parameters
  * in the RCC_OscInitTypeDef structure.
  */
  RCC_OscInitStruct.OscillatorType = RCC_OSCILLATORTYPE_HSI;
  RCC_OscInitStruct.HSIState = RCC_HSI_ON;
  RCC_OscInitStruct.HSICalibrationValue = RCC_HSICALIBRATION_DEFAULT;
  RCC_OscInitStruct.PLL.PLLState = RCC_PLL_NONE;
  if (HAL_RCC_OscConfig(&RCC_OscInitStruct) != HAL_OK)
  {
    Error_Handler();
  }

  /** Initializes the CPU, AHB and APB buses clocks
  */
  RCC_ClkInitStruct.ClockType = RCC_CLOCKTYPE_HCLK|RCC_CLOCKTYPE_SYSCLK
                              |RCC_CLOCKTYPE_PCLK1|RCC_CLOCKTYPE_PCLK2;
  RCC_ClkInitStruct.SYSCLKSource = RCC_SYSCLKSOURCE_HSI;
  RCC_ClkInitStruct.AHBCLKDivider = RCC_SYSCLK_DIV1;
  RCC_ClkInitStruct.APB1CLKDivider = RCC_HCLK_DIV2;
  RCC_ClkInitStruct.APB2CLKDivider = RCC_HCLK_DIV1;

  if (HAL_RCC_ClockConfig(&RCC_ClkInitStruct, FLASH_LATENCY_0) != HAL_OK)
  {
    Error_Handler();
  }
}

static void MX_I2C1_Init(void)
{

  hi2c1.Instance = I2C1;
  hi2c1.Init.ClockSpeed = 100000;
  hi2c1.Init.DutyCycle = I2C_DUTYCYCLE_2;
  hi2c1.Init.OwnAddress1 = 0;
  hi2c1.Init.AddressingMode = I2C_ADDRESSINGMODE_7BIT;
  hi2c1.Init.DualAddressMode = I2C_DUALADDRESS_DISABLE;
  hi2c1.Init.OwnAddress2 = 0;
  hi2c1.Init.GeneralCallMode = I2C_GENERALCALL_DISABLE;
  hi2c1.Init.NoStretchMode = I2C_NOSTRETCH_DISABLE;
  if (HAL_I2C_Init(&hi2c1) != HAL_OK)
  {
    Error_Handler();
  }

}

static void MX_I2C3_Init(void)
{

  hi2c3.Instance = I2C3;
  hi2c3.Init.ClockSpeed = 100000;
  hi2c3.Init.DutyCycle = I2C_DUTYCYCLE_2;
  hi2c3.Init.OwnAddress1 = 0;
  hi2c3.Init.AddressingMode = I2C_ADDRESSINGMODE_7BIT;
  hi2c3.Init.DualAddressMode = I2C_DUALADDRESS_DISABLE;
  hi2c3.Init.OwnAddress2 = 0;
  hi2c3.Init.GeneralCallMode = I2C_GENERALCALL_DISABLE;
  hi2c3.Init.NoStretchMode = I2C_NOSTRETCH_DISABLE;
  if (HAL_I2C_Init(&hi2c3) != HAL_OK)
  {
    Error_Handler();
  }

}

static void MX_TIM2_Init(void)
{

  TIM_ClockConfigTypeDef sClockSourceConfig = {0};
  TIM_MasterConfigTypeDef sMasterConfig = {0};
  TIM_OC_InitTypeDef sConfigOC = {0};

  htim2.Instance = TIM2;
  htim2.Init.Prescaler = 15;
  htim2.Init.CounterMode = TIM_COUNTERMODE_UP;
  htim2.Init.Period = 20000-1;
  htim2.Init.ClockDivision = TIM_CLOCKDIVISION_DIV1;
  htim2.Init.AutoReloadPreload = TIM_AUTORELOAD_PRELOAD_DISABLE;
  if (HAL_TIM_Base_Init(&htim2) != HAL_OK)
  {
    Error_Handler();
  }
  sClockSourceConfig.ClockSource = TIM_CLOCKSOURCE_INTERNAL;
  if (HAL_TIM_ConfigClockSource(&htim2, &sClockSourceConfig) != HAL_OK)
  {
    Error_Handler();
  }
  if (HAL_TIM_PWM_Init(&htim2) != HAL_OK)
  {
    Error_Handler();
  }
  sMasterConfig.MasterOutputTrigger = TIM_TRGO_RESET;
  sMasterConfig.MasterSlaveMode = TIM_MASTERSLAVEMODE_DISABLE;
  if (HAL_TIMEx_MasterConfigSynchronization(&htim2, &sMasterConfig) != HAL_OK)
  {
    Error_Handler();
  }
  sConfigOC.OCMode = TIM_OCMODE_PWM1;
  sConfigOC.Pulse = 0;
  sConfigOC.OCPolarity = TIM_OCPOLARITY_HIGH;
  sConfigOC.OCFastMode = TIM_OCFAST_DISABLE;
  if (HAL_TIM_PWM_ConfigChannel(&htim2, &sConfigOC, TIM_CHANNEL_3) != HAL_OK)
  {
    Error_Handler();
  }
  HAL_TIM_MspPostInit(&htim2);

}

static void MX_USART1_UART_Init(void)
{

  huart1.Instance = USART1;
  huart1.Init.BaudRate = 115200;
  huart1.Init.WordLength = UART_WORDLENGTH_8B;
  huart1.Init.StopBits = UART_STOPBITS_1;
  huart1.Init.Parity = UART_PARITY_NONE;
  huart1.Init.Mode = UART_MODE_TX_RX;
  huart1.Init.HwFlowCtl = UART_HWCONTROL_NONE;
  huart1.Init.OverSampling = UART_OVERSAMPLING_16;
  if (HAL_UART_Init(&huart1) != HAL_OK)
  {
    Error_Handler();
  }

}

static void MX_GPIO_Init(void)
{
  GPIO_InitTypeDef GPIO_InitStruct = {0};

  /* GPIO Ports Clock Enable */
  __HAL_RCC_GPIOH_CLK_ENABLE();
  __HAL_RCC_GPIOA_CLK_ENABLE();
  __HAL_RCC_GPIOC_CLK_ENABLE();
  __HAL_RCC_GPIOB_CLK_ENABLE();

  /*Configure GPIO pin Output Level */
  HAL_GPIO_WritePin(GPIOC, Step1_Pin|Step2_Pin|Step3_Pin|Step4_Pin, GPIO_PIN_RESET);

  /*Configure GPIO pin Output Level */
  HAL_GPIO_WritePin(LED_GPIO_Port, LED_Pin, GPIO_PIN_RESET);

  /*Configure GPIO pins : Step1_Pin Step2_Pin Step3_Pin Step4_Pin */
  GPIO_InitStruct.Pin = Step1_Pin|Step2_Pin|Step3_Pin|Step4_Pin;
  GPIO_InitStruct.Mode = GPIO_MODE_OUTPUT_PP;
  GPIO_InitStruct.Pull = GPIO_NOPULL;
  GPIO_InitStruct.Speed = GPIO_SPEED_FREQ_LOW;
  HAL_GPIO_Init(GPIOC, &GPIO_InitStruct);

  /*Configure GPIO pin : LED_Pin */
  GPIO_InitStruct.Pin = LED_Pin;
  GPIO_InitStruct.Mode = GPIO_MODE_OUTPUT_PP;
  GPIO_InitStruct.Pull = GPIO_NOPULL;
  GPIO_InitStruct.Speed = GPIO_SPEED_FREQ_LOW;
  HAL_GPIO_Init(LED_GPIO_Port, &GPIO_InitStruct);

  /*Configure GPIO pin : IR_Sensor_Pin */
  GPIO_InitStruct.Pin = IR_Sensor_Pin;
  GPIO_InitStruct.Mode = GPIO_MODE_IT_RISING;
  GPIO_InitStruct.Pull = GPIO_NOPULL;
  HAL_GPIO_Init(IR_Sensor_GPIO_Port, &GPIO_InitStruct);

  /* EXTI interrupt init*/
  HAL_NVIC_SetPriority(EXTI9_5_IRQn, 0, 0);
  HAL_NVIC_EnableIRQ(EXTI9_5_IRQn);

}

void Error_Handler(void)
{
  __disable_irq();
  while (1)
  {
  }
}
